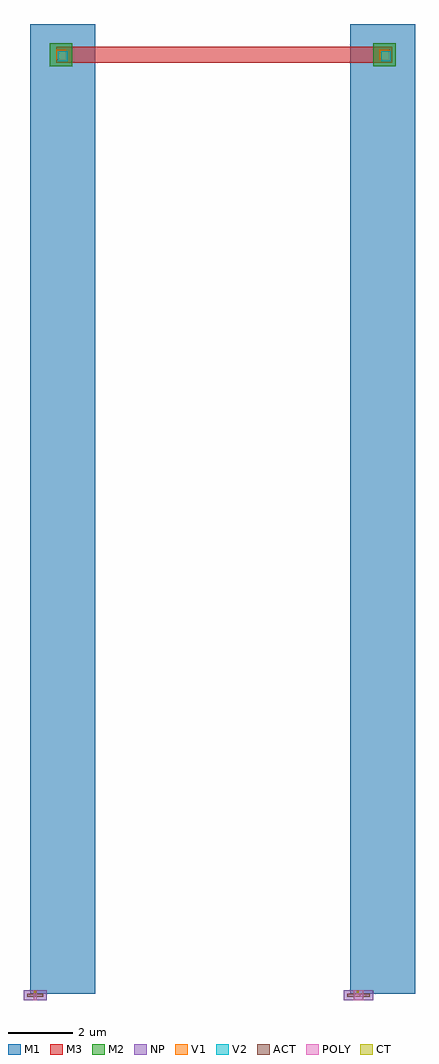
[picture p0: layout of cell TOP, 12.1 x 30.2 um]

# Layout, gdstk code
import gdstk
lib = gdstk.Library(unit=1e-6, precision=1e-09)
def R(c, l, rs):  # rectangles x0, y0, x1, y1
    for r in rs: c.add(gdstk.rectangle(r[:2], r[2:], *l))
ACT = (2, 1)
POLY = (41, 1)
NP = (52, 1)
CT = (72, 1)
M1 = (81, 1)
M2 = (82, 1)
M3 = (83, 1)
V1 = (91, 1)
V2 = (92, 1)

top = lib.new_cell('TOP')
R(top, ACT, [(-0.9,0,-0.4,0.1), (9,0,9.7,0.1)])
R(top, POLY, [(-0.7,-0.1,-0.6,0.2), (9.2,-0.1,9.5,0.2)])
R(top, NP, [(-1,-0.1,-0.3,0.2), (8.9,-0.1,9.8,0.2)])
R(top, CT, [(-0.68,0.12,-0.62,0.18), (9.3,0.12,9.36,0.18)])
R(top, M1, [(-0.8,0.1,1.2,30.1), (9.1,0.1,11.1,30.1)])
R(top, M2, [(-0.2,28.8,0.5,29.5), (9.8,28.8,10.5,29.5)])
R(top, M3, [(0,28.9,10.4,29.4)])
R(top, V1, [(0,29,0.3,29.3), (10,29,10.3,29.3)])
R(top, V2, [(0.05,28.95,0.35,29.25), (10.05,28.95,10.35,29.25)])

lib.write_gds('TOP.gds')
